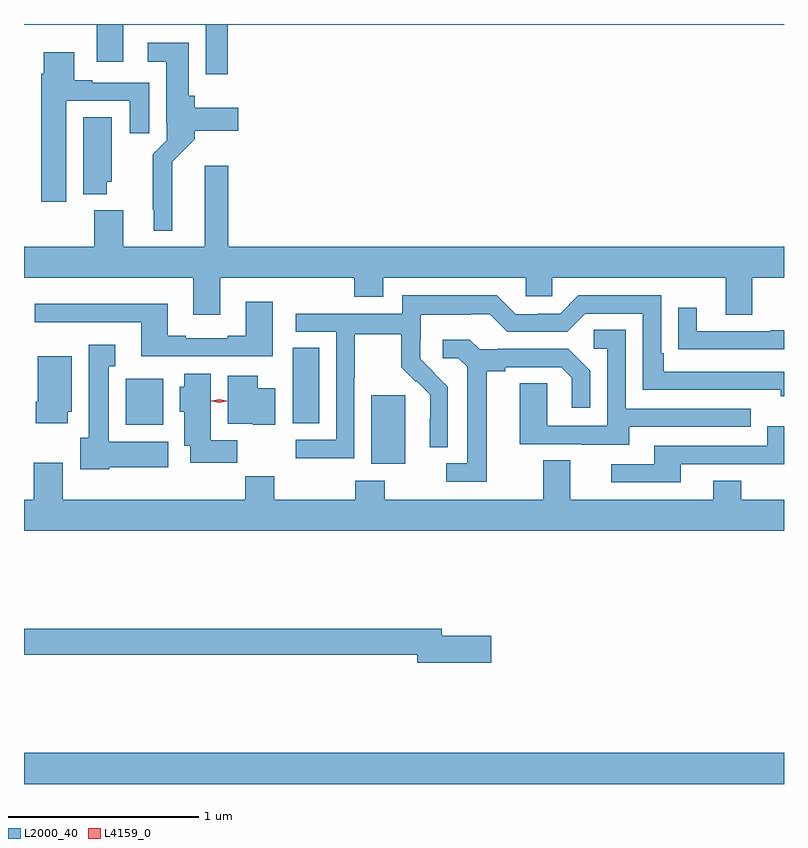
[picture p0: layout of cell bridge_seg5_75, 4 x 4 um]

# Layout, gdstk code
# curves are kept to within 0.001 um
import gdstk
lib = gdstk.Library(unit=1e-6, precision=1e-09)
def R(c, l, rs):  # rectangles x0, y0, x1, y1
    for r in rs: c.add(gdstk.rectangle(r[:2], r[2:], *l))
def P(c, l, *ps):  # polygons
    for p in ps: c.add(gdstk.Polygon(p, *l))
L2000_40 = (2000, 40)
L4159_0 = (4159, 0)

bridge_seg5_75 = lib.new_cell('bridge_seg5_75')
R(bridge_seg5_75, L2000_40, [(190.579,842.108,194.579,842.272), (192.407,843.794,192.586,844.155), (191.114,843.998,191.311,844.24), (191.993,844.006,192.133,844.403)])
P(bridge_seg5_75, L2000_40, [(191.651,846.104),(194.579,846.104),(194.579,846.108),(190.579,846.108),(190.579,846.104),(190.961,846.104),(190.961,845.91),(191.101,845.91),(191.101,846.104),(191.535,846.104),(191.535,845.844),(191.651,845.844)],
  [(191.359,845.384),(191.477,845.502),(191.477,845.546),(191.707,845.546),(191.707,845.668),(191.477,845.668),(191.477,845.73),(191.446,845.73),(191.446,846.01),(191.229,846.01),(191.229,845.909),(191.327,845.909),(191.327,845.59),(191.331,845.59),(191.331,845.496),(191.257,845.422),(191.257,845.131),(191.261,845.131),(191.261,845.021),(191.359,845.021)],
  [(190.801,845.703),(191.135,845.703),(191.135,845.532),(191.239,845.532),(191.239,845.799),(190.939,845.799),(190.939,845.812),(190.843,845.812),(190.843,845.959),(190.682,845.959),(190.682,845.846),(190.67,845.846),(190.67,845.172),(190.801,845.172)],
  [(191.014,845.277),(191.041,845.277),(191.041,845.618),(190.892,845.618),(190.892,845.213),(191.014,845.213)],
  [(191.611,844.772),(192.317,844.772),(192.317,844.673),(192.469,844.673),(192.469,844.772),(193.221,844.772),(193.221,844.674),(193.359,844.674),(193.359,844.772),(194.273,844.772),(194.273,844.578),(194.413,844.578),(194.413,844.772),(194.579,844.772),(194.579,844.936),(191.654,844.936),(191.654,845.362),(191.531,845.362),(191.531,844.936),(191.101,844.936),(191.101,845.128),(190.949,845.128),(190.949,844.936),(190.579,844.936),(190.579,844.772),(191.471,844.772),(191.471,844.578),(191.611,844.578)],
  [(192.318,844.252),(192.321,844.252),(192.321,844.476),(192.565,844.476),(192.565,844.301),(192.642,844.224),(192.645,844.227),(192.716,844.157),(192.716,844.034),(192.714,844.034),(192.714,843.88),(192.81,843.88),(192.81,844.198),(192.664,844.346),(192.664,844.443),(192.666,844.443),(192.666,844.577),(192.929,844.577),(192.929,844.581),(193.029,844.581),(193.122,844.488),(193.437,844.488),(193.533,844.584),(193.836,844.584),(193.836,844.182),(194.561,844.182),(194.561,844.148),(194.579,844.148),(194.579,844.278),(193.945,844.278),(193.945,844.375),(193.932,844.375),(193.932,844.68),(193.497,844.68),(193.401,844.584),(193.283,844.584),(193.283,844.581),(193.167,844.581),(193.067,844.681),(192.57,844.681),(192.57,844.584),(192.009,844.584),(192.009,844.488),(192.222,844.488),(192.222,843.921),(192.009,843.921),(192.009,843.823),(192.318,843.823)],
  [(191.887,844.645),(191.747,844.645),(191.747,844.468),(191.651,844.468),(191.651,844.455),(191.431,844.455),(191.431,844.468),(191.335,844.468),(191.335,844.636),(190.635,844.636),(190.635,844.539),(191.195,844.539),(191.195,844.359),(191.887,844.359)],
  [(194.579,844.496),(194.509,844.496),(194.509,844.491),(194.119,844.491),(194.119,844.615),(194.023,844.615),(194.023,844.396),(194.125,844.396),(194.125,844.395),(194.579,844.395)],
  [(193.765,843.987),(194.405,843.987),(194.405,844.083),(193.746,844.083),(193.746,844.499),(193.578,844.499),(193.578,844.398),(193.65,844.398),(193.65,843.993),(193.332,843.993),(193.332,844.217),(193.187,844.217),(193.187,843.897),(193.511,843.897),(193.511,843.893),(193.765,843.893)],
  [(193.015,844.28),(193.111,844.28),(193.111,844.302),(193.406,844.302),(193.463,844.245),(193.463,844.089),(193.56,844.089),(193.56,844.282),(193.444,844.398),(193.072,844.398),(193.072,844.395),(192.978,844.395),(192.926,844.447),(192.783,844.447),(192.783,844.35),(192.864,844.35),(192.911,844.303),(192.911,843.795),(192.801,843.795),(192.801,843.699),(193.015,843.699)],
  [(191.028,843.776),(191.338,843.776),(191.338,843.91),(191.026,843.91),(191.026,844.307),(191.059,844.307),(191.059,844.42),(190.919,844.42),(190.919,843.93),(190.874,843.93),(190.874,843.764),(191.028,843.764)],
  [(190.81,844.068),(190.831,844.068),(190.831,844.36),(190.652,844.36),(190.652,844.12),(190.64,844.12),(190.64,844.008),(190.81,844.008)],
  [(191.702,843.916),(191.563,843.916),(191.563,844.267),(191.423,844.267),(191.423,844.2),(191.399,844.2),(191.399,844.068),(191.423,844.068),(191.423,843.887),(191.453,843.887),(191.453,843.798),(191.702,843.798)],
  [(191.902,844.192),(191.809,844.192),(191.809,844.258),(191.651,844.258),(191.651,844.004),(191.784,844.004),(191.784,843.998),(191.902,843.998)],
  [(194.035,843.792),(194.579,843.792),(194.579,843.991),(194.49,843.991),(194.49,843.888),(193.895,843.888),(193.895,843.792),(193.671,843.792),(193.671,843.696),(194.035,843.696)],
  [(192.322,843.703),(192.322,843.604),(191.895,843.604),(191.895,843.728),(191.743,843.728),(191.743,843.604),(190.783,843.604),(190.783,843.799),(190.631,843.799),(190.631,843.604),(190.579,843.604),(190.579,843.44),(194.579,843.44),(194.579,843.604),(194.355,843.604),(194.355,843.703),(194.207,843.703),(194.207,843.604),(193.453,843.604),(193.453,843.812),(193.313,843.812),(193.313,843.604),(192.477,843.604),(192.477,843.703)],
  [(193.039,842.888),(192.778,842.888),(192.778,842.924),(190.579,842.924),(190.579,842.788),(192.65,842.788),(192.65,842.746),(193.039,842.746)])
P(bridge_seg5_75, L4159_0, [(191.606,844.114),(191.566,844.123),(191.565,844.123),(191.566,844.124),(191.606,844.133),(191.647,844.124),(191.647,844.123),(191.647,844.123)])

lib.write_gds('bridge_seg5_75.gds')
